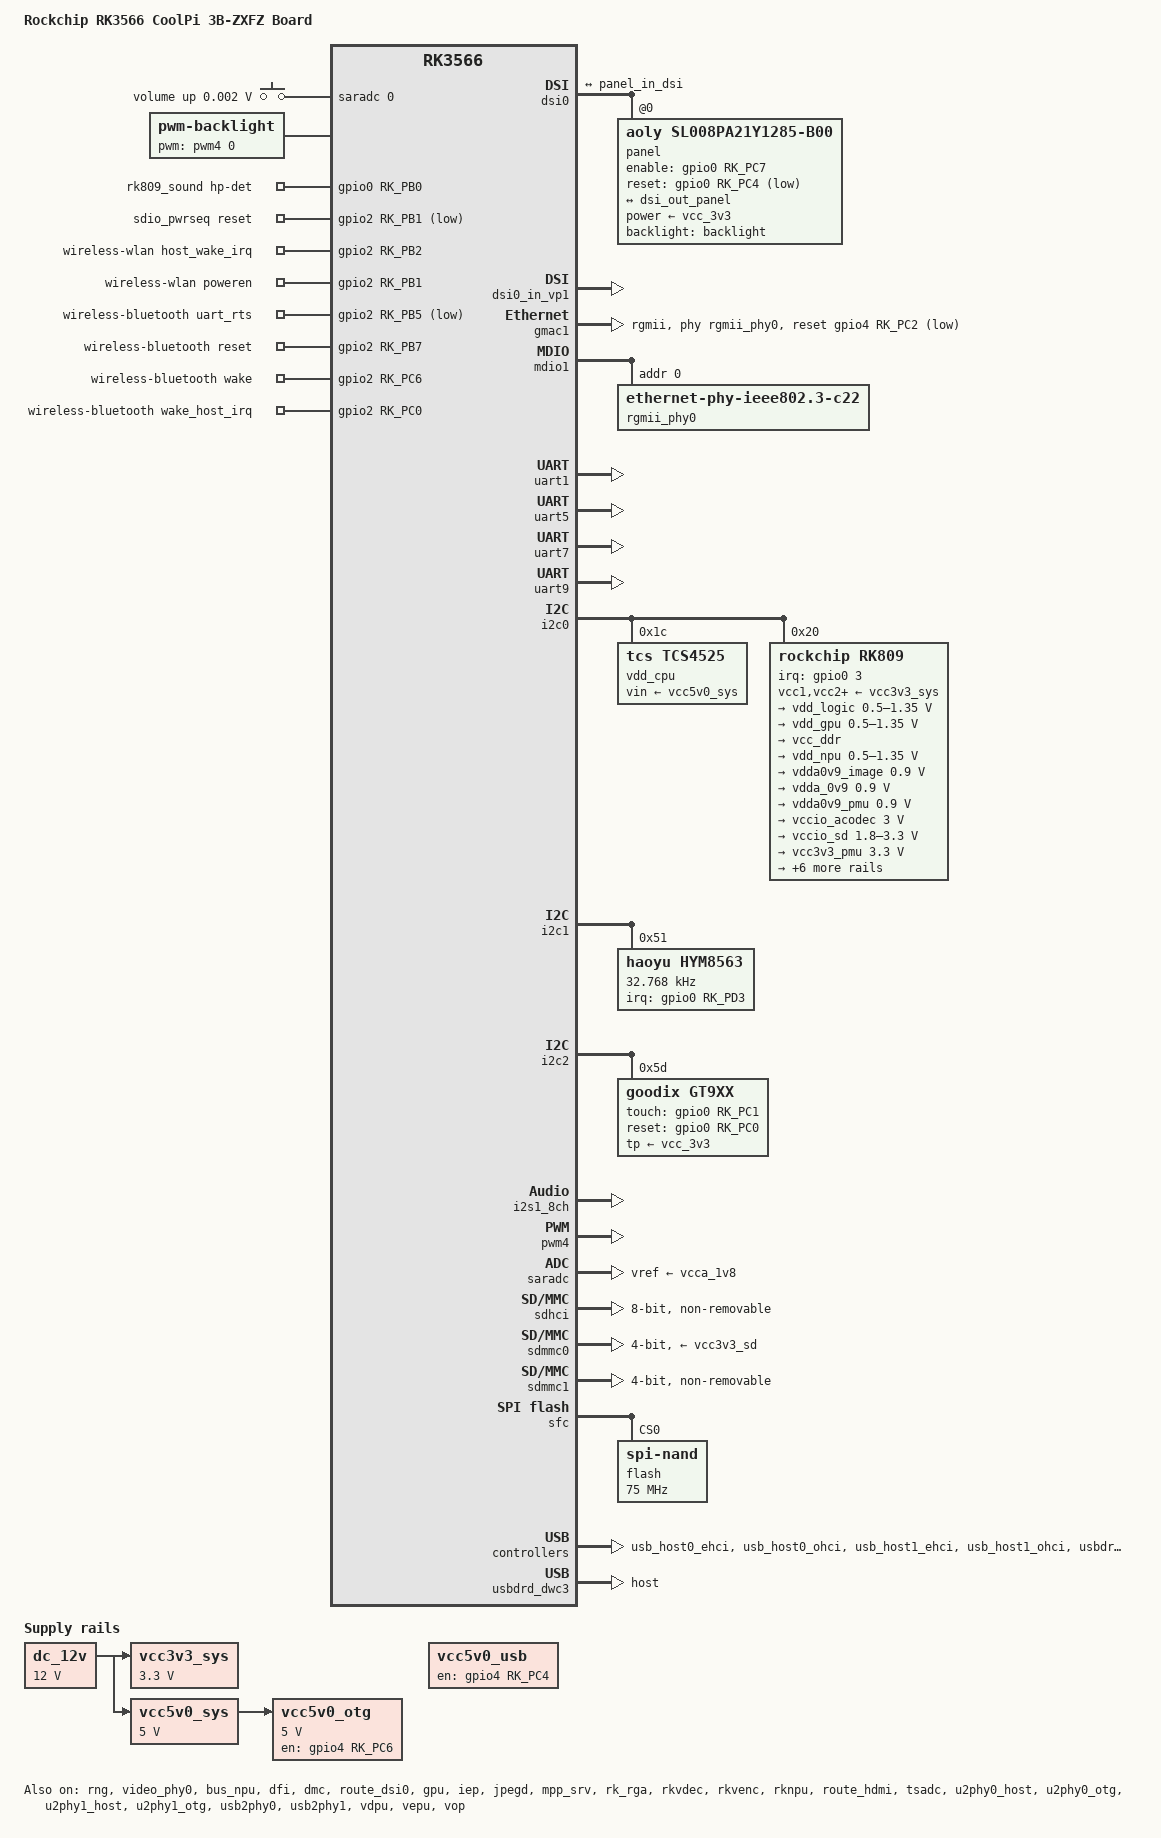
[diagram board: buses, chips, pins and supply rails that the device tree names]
// SPDX-License-Identifier: (GPL-2.0+ OR MIT)
/*
 * Copyright (c) 2020 Rockchip Electronics Co., Ltd.
 *
 */


// SPDX-License-Identifier: (GPL-2.0+ OR MIT)
/*
 * Copyright (c) 2020 Rockchip Electronics Co., Ltd.
 *
 */

/dts-v1/;
#include <dt-bindings/display/rockchip_vop.h>
#include <dt-bindings/gpio/gpio.h>
#include <dt-bindings/display/media-bus-format.h>
#include <dt-bindings/pinctrl/rockchip.h>
#include <dt-bindings/pwm/pwm.h>
#include <dt-bindings/input/rk-input.h>
#include <dt-bindings/display/drm_mipi_dsi.h>
#include <dt-bindings/sensor-dev.h>
#include "rk3566.dtsi"

/ {
	model = "Rockchip RK3566 CoolPi 3B-ZXFZ Board";
	compatible = "rockchip,rk3566";
	
	aliases {
		mmc0 = &sdhci;
		mmc1 = &sdmmc0;
		mmc2 = &sdmmc1;
		mmc3 = &sdmmc2;
	};

	fiq-debugger {
		compatible = "rockchip,fiq-debugger";
		rockchip,serial-id = <2>;
		rockchip,wake-irq = <0>;
		/* If enable uart uses irq instead of fiq */
		rockchip,irq-mode-enable = <1>;
		rockchip,baudrate = <115200>;  /* Only 115200 and 1500000 */
		interrupts = <GIC_SPI 252 IRQ_TYPE_LEVEL_LOW>;
		pinctrl-names = "default";
		pinctrl-0 = <&uart2m0_xfer>;
		status = "okay";
	};

	debug: debug@fd904000 {
		compatible = "rockchip,debug";
		reg = <0x0 0xfd904000 0x0 0x1000>,
			<0x0 0xfd905000 0x0 0x1000>,
			<0x0 0xfd906000 0x0 0x1000>,
			<0x0 0xfd907000 0x0 0x1000>;
	};

	cspmu: cspmu@fd90c000 {
		compatible = "rockchip,cspmu";
		reg = <0x0 0xfd90c000 0x0 0x1000>,
			<0x0 0xfd90d000 0x0 0x1000>,
			<0x0 0xfd90e000 0x0 0x1000>,
			<0x0 0xfd90f000 0x0 0x1000>;
	};
	
	adc_keys: adc-keys {
		compatible = "adc-keys";
		io-channels = <&saradc 0>;
		io-channel-names = "buttons";
		keyup-threshold-microvolt = <1800000>;
		poll-interval = <100>;

		vol-up-key {
			label = "volume up";
			linux,code = <KEY_VOLUMEUP>;
			press-threshold-microvolt = <1750>;
		};
	};

	backlight: backlight {
		compatible = "pwm-backlight";
		pwms = <&pwm4 0 25000 0>;
		brightness-levels = <
			  0  20  20  21  21  22  22  23
			 23  24  24  25  25  26  26  27
			 27  28  28  29  29  30  30  31
			 31  32  32  33  33  34  34  35
			 35  36  36  37  37  38  38  39
			 40  41  42  43  44  45  46  47
			 48  49  50  51  52  53  54  55
			 56  57  58  59  60  61  62  63
			 64  65  66  67  68  69  70  71
			 72  73  74  75  76  77  78  79
			 80  81  82  83  84  85  86  87
			 88  89  90  91  92  93  94  95
			 96  97  98  99 100 101 102 103
			104 105 106 107 108 109 110 111
			112 113 114 115 116 117 118 119
			120 121 122 123 124 125 126 127
			128 129 130 131 132 133 134 135
			136 137 138 139 140 141 142 143
			144 145 146 147 148 149 150 151
			152 153 154 155 156 157 158 159
			160 161 162 163 164 165 166 167
			168 169 170 171 172 173 174 175
			176 177 178 179 180 181 182 183
			184 185 186 187 188 189 190 191
			192 193 194 195 196 197 198 199
			200 201 202 203 204 205 206 207
			208 209 210 211 212 213 214 215
			216 217 218 219 220 221 222 223
			224 225 226 227 228 229 230 231
			232 233 234 235 236 237 238 239
			240 241 242 243 244 245 246 247
			248 249 250 251 252 253 254 255
		>;
		default-brightness-level = <254>;
	};

	rk809_sound: rk809-sound {
		status = "okay";
		compatible = "rockchip,multicodecs-card";
		rockchip,card-name = "rockchip-rk809";
		hp-det-gpio = <&gpio0 RK_PB0 GPIO_ACTIVE_HIGH>;
		rockchip,format = "i2s";
		rockchip,mclk-fs = <256>;
		rockchip,cpu = <&i2s1_8ch>;
		rockchip,codec = <&rk809_codec>;
		pinctrl-names = "default";
		pinctrl-0 = <&hp_det>;
	};
	
	dc_12v: dc-12v {
		compatible = "regulator-fixed";
		regulator-name = "dc_12v";
		regulator-always-on;
		regulator-boot-on;
		regulator-min-microvolt = <12000000>;
		regulator-max-microvolt = <12000000>;
	};

	vcc3v3_sys: vcc3v3-sys {
		compatible = "regulator-fixed";
		regulator-name = "vcc3v3_sys";
		regulator-always-on;
		regulator-boot-on;
		regulator-min-microvolt = <3300000>;
		regulator-max-microvolt = <3300000>;
		vin-supply = <&dc_12v>;
	};

	vcc5v0_sys: vcc5v0-sys {
		compatible = "regulator-fixed";
		regulator-name = "vcc5v0_sys";
		regulator-always-on;
		regulator-boot-on;
		regulator-min-microvolt = <5000000>;
		regulator-max-microvolt = <5000000>;
		vin-supply = <&dc_12v>;
	};
	
	vcc5v0_otg: vcc5v0-otg-regulator {
		compatible = "regulator-fixed";
		regulator-name = "vcc5v0_otg";
		regulator-min-microvolt = <5000000>;
		regulator-max-microvolt = <5000000>;
		enable-active-high;
		gpio = <&gpio4 RK_PC6 GPIO_ACTIVE_HIGH>;
		vin-supply = <&vcc5v0_sys>;
		pinctrl-names = "default";
		pinctrl-0 = <&vcc5v0_otg_en>;
	};
	
	vcc5v0_usb: vcc5v0-usb {
		compatible = "regulator-fixed";
		enable-active-high;
		gpio = <&gpio4 RK_PC4 GPIO_ACTIVE_HIGH>;
		pinctrl-names = "default";
		pinctrl-0 = <&vcc5v0_host_en>;
		regulator-name = "vcc5v0_usb";
		regulator-always-on;
	};

	sdio_pwrseq: sdio-pwrseq {
		compatible = "mmc-pwrseq-simple";
		clocks = <&rk809 1>;
		clock-names = "ext_clock";
		pinctrl-names = "default";
		pinctrl-0 = <&wifi_enable_h>;

		/*
		 * On the module itself this is one of these (depending
		 * on the actual card populated):
		 * - SDIO_RESET_L_WL_REG_ON
		 * - PDN (power down when low)
		 */
		post-power-on-delay-ms = <200>;
		reset-gpios = <&gpio2 RK_PB1 GPIO_ACTIVE_LOW>;
	};

	wireless-wlan {
		compatible = "wlan-platdata";
		rockchip,grf = <&grf>;
		wifi_chip_type = "ap6256";
		pinctrl-names = "default";
		pinctrl-0 = <&wifi_host_wake_irq>;
		WIFI,host_wake_irq = <&gpio2 RK_PB2 GPIO_ACTIVE_HIGH>;
		WIFI,poweren_gpio = <&gpio2 RK_PB1 GPIO_ACTIVE_HIGH>;
		status = "okay";
	};

	wireless-bluetooth {
		compatible = "bluetooth-platdata";
		clocks = <&rk809 1>;
		clock-names = "ext_clock";
		//wifi-bt-power-toggle;
		uart_rts_gpios = <&gpio2 RK_PB5 GPIO_ACTIVE_LOW>;
		pinctrl-names = "default", "rts_gpio";
		pinctrl-0 = <&uart1m0_rtsn>;
		pinctrl-1 = <&uart1_gpios>;
		BT,reset_gpio    = <&gpio2 RK_PB7 GPIO_ACTIVE_HIGH>;
		BT,wake_gpio     = <&gpio2 RK_PC6 GPIO_ACTIVE_HIGH>;
		BT,wake_host_irq = <&gpio2 RK_PC0 GPIO_ACTIVE_HIGH>;
		status = "okay";
	};
};

&reserved_memory {
	ramoops: ramoops@110000 {
		compatible = "ramoops";
		reg = <0x0 0x110000 0x0 0xf0000>;
		record-size = <0x20000>;
		console-size = <0x80000>;
		ftrace-size = <0x00000>;
		pmsg-size = <0x50000>;
	};
};

&rng {
	status = "okay";
};

&rockchip_suspend {
	status = "okay";
};

&vp0 {
	cursor-win-id = <ROCKCHIP_VOP2_CLUSTER0>;
};

/*
 * video_phy0 needs to be enabled
 * when dsi0 is enabled
 */
&dsi0 {
	status = "okay";
};

&dsi0_in_vp0 {
	status = "disabled";
};

&dsi0_in_vp1 {
	status = "okay";
};

&gmac1 {
	phy-mode = "rgmii";
	clock_in_out = "output";

	snps,reset-gpio = <&gpio4 RK_PC2 GPIO_ACTIVE_LOW>;
	snps,reset-active-low;
	/* Reset time is 20ms, 100ms for rtl8211f */
	snps,reset-delays-us = <0 20000 100000>;

	assigned-clocks = <&cru SCLK_GMAC1_RX_TX>, <&cru SCLK_GMAC1>;
	assigned-clock-parents = <&cru SCLK_GMAC1_RGMII_SPEED>, <&cru CLK_MAC1_2TOP>;
	assigned-clock-rates = <0>, <125000000>;

	pinctrl-names = "default";
	pinctrl-0 = <&gmac1m0_miim
		     &gmac1m0_tx_bus2
		     &gmac1m0_rx_bus2
		     &gmac1m0_rgmii_clk
		     &gmac1m0_rgmii_bus>;

	tx_delay = <0x44>;
	/*rx_delay = <0x2d>;*/

	phy-handle = <&rgmii_phy0>;
	status = "okay";

	/*fixed-link {
		speed = <100>;
	};*/
};

&mdio1 {
	rgmii_phy0: phy@0 {
		compatible = "ethernet-phy-ieee802.3-c22";
		reg = <0x0>;
	};
};

&video_phy0 {
	status = "okay";
};

&uart1 {
	status = "okay";
	pinctrl-names = "default";
	pinctrl-0 = <&uart1m0_xfer &uart1m0_ctsn>;
};

&uart5 {
	status = "okay";
	pinctrl-names = "default";
	pinctrl-0 = <&uart5m1_xfer>;
};

&uart7 {
	status = "okay";
	pinctrl-names = "default";
	pinctrl-0 = <&uart7m2_xfer>;
};

&uart9 {
	status = "okay";
	pinctrl-names = "default";
	pinctrl-0 = <&uart9m2_xfer>;
};

&bus_npu {
	bus-supply = <&vdd_logic>;
	pvtm-supply = <&vdd_cpu>;
	status = "okay";
};

&cpu0 {
	cpu-supply = <&vdd_cpu>;
};

&dfi {
	status = "okay";
};

&dmc {
	center-supply = <&vdd_logic>;
	status = "okay";
};

&dsi0 {
	status = "okay";
	//rockchip,lane-rate = <1000>;
	panel@0 {
		compatible = "aoly,sl008pa21y1285-b00", "simple-panel-dsi";
		reg = <0>;

		backlight = <&backlight>;
		power-supply=<&vcc_3v3>;
		enable-gpios = <&gpio0 RK_PC7 GPIO_ACTIVE_HIGH>;
		reset-gpios = <&gpio0 RK_PC4 GPIO_ACTIVE_LOW>;

		pinctrl-names = "default";
		pinctrl-0 = <&lcd_enable_gpio>, <&lcd_rst_gpio>;

		prepare-delay-ms = <120>;
		reset-delay-ms = <120>;
		init-delay-ms = <120>;
		stbyb-delay-ms = <120>;
		enable-delay-ms = <120>;
		disable-delay-ms = <120>;
		unprepare-delay-ms = <120>;

		width-mm = <229>;
		height-mm = <143>;

		dsi,flags = <(MIPI_DSI_MODE_VIDEO | MIPI_DSI_MODE_VIDEO_BURST |
			      MIPI_DSI_MODE_LPM | MIPI_DSI_MODE_EOT_PACKET)>;
		dsi,format = <MIPI_DSI_FMT_RGB888>;
		dsi,lanes = <4>;

		panel-init-sequence = [
			05 78 01 11
			05 14 01 29
			
			23 00 02 35 00			
		];

		panel-exit-sequence = [
			05 dc 01 28
			05 78 01 10
		];

		disp_timings0: display-timings {
			native-mode = <&dsi0_timing0>;
			dsi0_timing0: timing0 {
				clock-frequency = <143000000>;
				hactive = <1200>;
				vactive = <1920>;
				hfront-porch = <80>;
				hsync-len = <1>;
				hback-porch = <60>;
				vfront-porch = <35>;
				vsync-len = <1>;
				vback-porch = <25>;
				hsync-active = <0>;
				vsync-active = <0>;
				de-active = <0>;
				pixelclk-active = <0>;
			};
		};

		ports {
			#address-cells = <1>;
			#size-cells = <0>;

			port@0 {
				reg = <0>;
				panel_in_dsi: endpoint {
					remote-endpoint = <&dsi_out_panel>;
				};
			};
		};
	};

	ports {
		#address-cells = <1>;
		#size-cells = <0>;

		port@1 {
			reg = <1>;
			dsi_out_panel: endpoint {
				remote-endpoint = <&panel_in_dsi>;
			};
		};
	};

};

&route_dsi0 {
	status = "okay";
	connect = <&vp1_out_dsi0>;
};

&gpu {
	mali-supply = <&vdd_gpu>;
	status = "okay";
};

&i2c0 {
	status = "okay";

	vdd_cpu: tcs4525@1c {
		compatible = "tcs,tcs4525";
		reg = <0x1c>;
		vin-supply = <&vcc5v0_sys>;
		regulator-compatible = "fan53555-reg";
		regulator-name = "vdd_cpu";
		regulator-min-microvolt = <712500>;
		regulator-max-microvolt = <1390000>;
		regulator-init-microvolt = <900000>;
		regulator-ramp-delay = <2300>;
		fcs,suspend-voltage-selector = <1>;
		regulator-boot-on;
		regulator-always-on;
		regulator-state-mem {
			regulator-off-in-suspend;
		};
	};

	rk809: pmic@20 {
		compatible = "rockchip,rk809";
		reg = <0x20>;
		interrupt-parent = <&gpio0>;
		interrupts = <3 IRQ_TYPE_LEVEL_LOW>;

		pinctrl-names = "default", "pmic-sleep",
				"pmic-power-off", "pmic-reset";
		pinctrl-0 = <&pmic_int>;
		pinctrl-1 = <&soc_slppin_slp>, <&rk817_slppin_slp>;
		pinctrl-2 = <&soc_slppin_gpio>, <&rk817_slppin_pwrdn>;
		pinctrl-3 = <&soc_slppin_gpio>, <&rk817_slppin_rst>;

		rockchip,system-power-controller;
		wakeup-source;
		#clock-cells = <1>;
		clock-output-names = "rk808-clkout1", "rk808-clkout2";
		//fb-inner-reg-idxs = <2>;
		/* 1: rst regs (default in codes), 0: rst the pmic */
		pmic-reset-func = <0>;
		/* not save the PMIC_POWER_EN register in uboot */
		not-save-power-en = <1>;

		vcc1-supply = <&vcc3v3_sys>;
		vcc2-supply = <&vcc3v3_sys>;
		vcc3-supply = <&vcc3v3_sys>;
		vcc4-supply = <&vcc3v3_sys>;
		vcc5-supply = <&vcc3v3_sys>;
		vcc6-supply = <&vcc3v3_sys>;
		vcc7-supply = <&vcc3v3_sys>;
		vcc8-supply = <&vcc3v3_sys>;
		vcc9-supply = <&vcc3v3_sys>;

		pwrkey {
			status = "okay";
		};

		pinctrl_rk8xx: pinctrl_rk8xx {
			gpio-controller;
			#gpio-cells = <2>;

			rk817_slppin_null: rk817_slppin_null {
				pins = "gpio_slp";
				function = "pin_fun0";
			};

			rk817_slppin_slp: rk817_slppin_slp {
				pins = "gpio_slp";
				function = "pin_fun1";
			};

			rk817_slppin_pwrdn: rk817_slppin_pwrdn {
				pins = "gpio_slp";
				function = "pin_fun2";
			};

			rk817_slppin_rst: rk817_slppin_rst {
				pins = "gpio_slp";
				function = "pin_fun3";
			};
		};

		regulators {
			vdd_logic: DCDC_REG1 {
				regulator-always-on;
				regulator-boot-on;
				regulator-min-microvolt = <500000>;
				regulator-max-microvolt = <1350000>;
				regulator-init-microvolt = <900000>;
				regulator-ramp-delay = <6001>;
				regulator-initial-mode = <0x2>;
				regulator-name = "vdd_logic";
				regulator-state-mem {
					regulator-off-in-suspend;
				};
			};

			vdd_gpu: DCDC_REG2 {
				regulator-always-on;
				regulator-boot-on;
				regulator-min-microvolt = <500000>;
				regulator-max-microvolt = <1350000>;
				regulator-init-microvolt = <900000>;
				regulator-ramp-delay = <6001>;
				regulator-initial-mode = <0x2>;
				regulator-name = "vdd_gpu";
				regulator-state-mem {
					regulator-off-in-suspend;
				};
			};

			vcc_ddr: DCDC_REG3 {
				regulator-always-on;
				regulator-boot-on;
				regulator-initial-mode = <0x2>;
				regulator-name = "vcc_ddr";
				regulator-state-mem {
					regulator-on-in-suspend;
				};
			};

			vdd_npu: DCDC_REG4 {
				regulator-always-on;
				regulator-boot-on;
				regulator-min-microvolt = <500000>;
				regulator-max-microvolt = <1350000>;
				regulator-init-microvolt = <900000>;
				regulator-ramp-delay = <6001>;
				regulator-initial-mode = <0x2>;
				regulator-name = "vdd_npu";
				regulator-state-mem {
					regulator-off-in-suspend;
				};
			};

			vdda0v9_image: LDO_REG1 {
				regulator-boot-on;
				regulator-always-on;
				regulator-min-microvolt = <900000>;
				regulator-max-microvolt = <900000>;
				regulator-name = "vdda0v9_image";
				regulator-state-mem {
					regulator-off-in-suspend;
				};
			};

			vdda_0v9: LDO_REG2 {
				regulator-always-on;
				regulator-boot-on;
				regulator-min-microvolt = <900000>;
				regulator-max-microvolt = <900000>;
				regulator-name = "vdda_0v9";
				regulator-state-mem {
					regulator-off-in-suspend;
				};
			};

			vdda0v9_pmu: LDO_REG3 {
				regulator-always-on;
				regulator-boot-on;
				regulator-min-microvolt = <900000>;
				regulator-max-microvolt = <900000>;
				regulator-name = "vdda0v9_pmu";
				regulator-state-mem {
					regulator-on-in-suspend;
					regulator-suspend-microvolt = <900000>;
				};
			};

			vccio_acodec: LDO_REG4 {
				regulator-always-on;
				regulator-boot-on;
				regulator-min-microvolt = <3000000>;
				regulator-max-microvolt = <3000000>;
				regulator-name = "vccio_acodec";
				regulator-state-mem {
					regulator-off-in-suspend;
				};
			};

			vccio_sd: LDO_REG5 {
				regulator-always-on;
				regulator-boot-on;
				regulator-min-microvolt = <1800000>;
				regulator-max-microvolt = <3300000>;
				regulator-name = "vccio_sd";
				regulator-state-mem {
					regulator-off-in-suspend;
				};
			};

			vcc3v3_pmu: LDO_REG6 {
				regulator-always-on;
				regulator-boot-on;
				regulator-min-microvolt = <3300000>;
				regulator-max-microvolt = <3300000>;
				regulator-name = "vcc3v3_pmu";
				regulator-state-mem {
					regulator-on-in-suspend;
					regulator-suspend-microvolt = <3300000>;
				};
			};

			vcca_1v8: LDO_REG7 {
				regulator-always-on;
				regulator-boot-on;
				regulator-min-microvolt = <1800000>;
				regulator-max-microvolt = <1800000>;
				regulator-name = "vcca_1v8";
				regulator-state-mem {
					regulator-off-in-suspend;
				};
			};

			vcca1v8_pmu: LDO_REG8 {
				regulator-always-on;
				regulator-boot-on;
				regulator-min-microvolt = <1800000>;
				regulator-max-microvolt = <1800000>;
				regulator-name = "vcca1v8_pmu";
				regulator-state-mem {
					regulator-on-in-suspend;
					regulator-suspend-microvolt = <1800000>;
				};
			};

			vcca1v8_image: LDO_REG9 {
				regulator-always-on;
				regulator-boot-on;
				regulator-min-microvolt = <1800000>;
				regulator-max-microvolt = <1800000>;
				regulator-name = "vcca1v8_image";
				regulator-state-mem {
					regulator-off-in-suspend;
				};
			};

			vcc_1v8: DCDC_REG5 {
				regulator-always-on;
				regulator-boot-on;
				regulator-min-microvolt = <1800000>;
				regulator-max-microvolt = <1800000>;
				regulator-name = "vcc_1v8";
				regulator-state-mem {
					regulator-off-in-suspend;
				};
			};

			vcc_3v3: SWITCH_REG1 {
				regulator-always-on;
				regulator-boot-on;
				regulator-name = "vcc_3v3";
				regulator-state-mem {
					regulator-off-in-suspend;
				};
			};

			vcc3v3_sd: SWITCH_REG2 {
				regulator-always-on;
				regulator-boot-on;
				regulator-name = "vcc3v3_sd";
				regulator-state-mem {
					regulator-off-in-suspend;
				};
			};
		};

		rk809_codec: codec {
			#sound-dai-cells = <1>;
			compatible = "rockchip,rk809-codec", "rockchip,rk817-codec";
			clocks = <&cru I2S1_MCLKOUT>;
			clock-names = "mclk";
			assigned-clocks = <&cru I2S1_MCLKOUT>, <&cru I2S1_MCLK_TX_IOE>;
			assigned-clock-rates = <12288000>;
			assigned-clock-parents = <&cru I2S1_MCLKOUT_TX>, <&cru I2S1_MCLKOUT_TX>;
			pinctrl-names = "default";
			pinctrl-0 = <&i2s1m0_mclk>;
			use-ext-amplifier;
			spk-ctl-gpios = <&gpio0 RK_PA5 GPIO_ACTIVE_HIGH>;
			hp-volume = <20>;
			spk-volume = <3>;
			mic-in-differential;
			status = "okay";
		};
	};
};

&i2c1 {
	status = "okay";
	
	hym8563: hym8563@51 {
		compatible = "haoyu,hym8563";
		reg = <0x51>;
		#clock-cells = <0>;
		clock-frequency = <32768>;
		clock-output-names = "hym8563";
		pinctrl-names = "default";
		pinctrl-0 = <&hym8563_int>;
		interrupt-parent = <&gpio0>;
		interrupts = <RK_PD3 IRQ_TYPE_LEVEL_LOW>;
		//wakeup-source;
		status = "okay";
	};
};

&i2c2 {
	status = "okay";
	pinctrl-0 = <&i2c2m0_xfer>;
	
	gt9xx: gt9xx@5d {
		compatible = "goodix,gt9xx";
		reg = <0x5d>;
		pinctrl-names = "default";
		pinctrl-0 = <&gt9xx_gpio>;
		touch-gpio = <&gpio0 RK_PC1 IRQ_TYPE_LEVEL_LOW>;
		reset-gpio = <&gpio0 RK_PC0 GPIO_ACTIVE_HIGH>;
		max-x = <1200>;
		max-y = <1920>;
		tp-size = <9110>;
		tp-supply = <&vcc_3v3>;
	};
	
};

&i2s1_8ch {
	status = "okay";
	rockchip,clk-trcm = <1>;
	pinctrl-names = "default";
	pinctrl-0 = <&i2s1m0_sclktx
		     &i2s1m0_lrcktx
		     &i2s1m0_sdi0
		     &i2s1m0_sdo0>;
};

&iep {
	status = "okay";
};

&iep_mmu {
	status = "okay";
};

&jpegd {
	status = "okay";
};

&jpegd_mmu {
	status = "okay";
};

&mpp_srv {
	status = "okay";
};

&pmu_io_domains {
	status = "okay";
	pmuio1-supply = <&vcc3v3_pmu>;
	pmuio2-supply = <&vcc3v3_pmu>;
	vccio1-supply = <&vccio_acodec>;
	vccio3-supply = <&vccio_sd>;
	vccio4-supply = <&vcc_1v8>;
	vccio5-supply = <&vcc_1v8>;
	vccio6-supply = <&vcc_1v8>;
	vccio7-supply = <&vcc_3v3>;
};

&pwm4 {
	status = "okay";
};

&rk_rga {
	status = "okay";
};

&rkvdec {
	status = "okay";
};

&rkvdec_mmu {
	status = "okay";
};

&rkvenc {
	venc-supply = <&vdd_logic>;
	status = "okay";
};

&rkvenc_mmu {
	status = "okay";
};

&rknpu {
	rknpu-supply = <&vdd_npu>;
	status = "okay";
};

&rknpu_mmu {
	status = "okay";
};

&route_hdmi {
	status = "okay";
	connect = <&vp0_out_hdmi>;
};

&saradc {
	status = "okay";
	vref-supply = <&vcca_1v8>;
};

&sdhci {
	bus-width = <8>;
	no-sdio;
	no-sd;
	non-removable;
	max-frequency = <200000000>;
	full-pwr-cycle-in-suspend;
	status = "okay";
};

&sdmmc0 {
	max-frequency = <150000000>;
	no-sdio;
	no-mmc;
	bus-width = <4>;
	cap-mmc-highspeed;
	cap-sd-highspeed;
	disable-wp;
	sd-uhs-sdr104;
	vmmc-supply = <&vcc3v3_sd>;
	vqmmc-supply = <&vccio_sd>;
	pinctrl-names = "default";
	pinctrl-0 = <&sdmmc0_bus4 &sdmmc0_clk &sdmmc0_cmd &sdmmc0_det>;
	status = "okay";
};

&sdmmc1 {
	max-frequency = <150000000>;
	no-sd;
	no-mmc;
	bus-width = <4>;
	disable-wp;
	cap-sd-highspeed;
	cap-sdio-irq;
	keep-power-in-suspend;
	mmc-pwrseq = <&sdio_pwrseq>;
	non-removable;
	pinctrl-names = "default";
	pinctrl-0 = <&sdmmc1_bus4 &sdmmc1_cmd &sdmmc1_clk>;
	sd-uhs-sdr104;
	status = "okay";
};

&sfc {
	status = "okay";

	flash@0 {
		compatible = "spi-nand";
		reg = <0>;
		spi-max-frequency = <75000000>;
		spi-rx-bus-width = <4>;
		spi-tx-bus-width = <1>;
	};
};

&tsadc {
	status = "okay";
};

&u2phy0_host {
	phy-supply = <&vcc5v0_usb>;
	status = "okay";
};

&u2phy0_otg {
	vbus-supply = <&vcc5v0_otg>;
	status = "okay";
};

&u2phy1_host {
	phy-supply = <&vcc5v0_usb>;
	status = "okay";
};

&u2phy1_otg {
	phy-supply = <&vcc5v0_usb>;
	status = "okay";
};

&usb2phy0 {
	status = "okay";
};

&usb2phy1 {
	status = "okay";
};

&usb_host0_ehci {
	status = "okay";
};

&usb_host0_ohci {
	status = "okay";
};

&usb_host1_ehci {
	status = "okay";
};

&usb_host1_ohci {
	status = "okay";
};

&usbdrd_dwc3 {
	dr_mode = "host";
	extcon = <&usb2phy0>;
	status = "okay";
};

&usbdrd30 {
	status = "okay";
};

&vdpu {
	status = "okay";
};

&vdpu_mmu {
	status = "okay";
};

&vepu {
	status = "okay";
};

&vepu_mmu {
	status = "okay";
};

&vop {
	status = "okay";
	disable-win-move;
	assigned-clocks = <&cru DCLK_VOP0>, <&cru DCLK_VOP1>, <&cru DCLK_VOP2>;
	assigned-clock-parents = <&pmucru PLL_HPLL>, <&cru PLL_VPLL>, <&cru PLL_GPLL>;
};

&vop_mmu {
	status = "okay";
};

&pinctrl {

	headphone {
		hp_det: hp-det {
			rockchip,pins = <0 RK_PB0 RK_FUNC_GPIO &pcfg_pull_up>;
		};
	};

	pmic {
		pmic_int: pmic_int {
			rockchip,pins =
				<0 RK_PA3 RK_FUNC_GPIO &pcfg_pull_up>;
		};

		soc_slppin_gpio: soc_slppin_gpio {
			rockchip,pins =
				<0 RK_PA2 RK_FUNC_GPIO &pcfg_output_low>;
		};

		soc_slppin_slp: soc_slppin_slp {
			rockchip,pins =
				<0 RK_PA2 1 &pcfg_pull_none>;
		};

		soc_slppin_rst: soc_slppin_rst {
			rockchip,pins =
				<0 RK_PA2 2 &pcfg_pull_none>;
		};
	};
	
	rtc {
		hym8563_int: hym8563-int {
			rockchip,pins = <0 RK_PD3 RK_FUNC_GPIO &pcfg_pull_none>;
		};
	};
	
	usb {
		vcc5v0_host_en: vcc5v0-host-en {
			rockchip,pins = <4 RK_PC4 RK_FUNC_GPIO &pcfg_pull_none>;
		};
		vcc5v0_otg_en: vcc5v0-otg-en {
			rockchip,pins = <4 RK_PC6 RK_FUNC_GPIO &pcfg_pull_none>;
		};
	};
	
	lcd {
		lcd_rst_gpio: lcd-rst-gpio {
			rockchip,pins = <0 RK_PC4 RK_FUNC_GPIO &pcfg_pull_none>;
		};

		lcd_enable_gpio: lcd-enable-gpio {
			rockchip,pins = <0 RK_PC7 RK_FUNC_GPIO &pcfg_pull_none>;
		};
	};

	gt9xx {
		gt9xx_gpio: gt9xx-gpio {
			rockchip,pins = <0 RK_PC1 RK_FUNC_GPIO &pcfg_pull_up>,
					<0 RK_PC0 RK_FUNC_GPIO &pcfg_pull_none>;
		};
	};

	sdio-pwrseq {
		wifi_enable_h: wifi-enable-h {
			rockchip,pins = <2 RK_PB1 RK_FUNC_GPIO &pcfg_pull_none>;
		};
	};

	wireless-wlan {
		wifi_host_wake_irq: wifi-host-wake-irq {
			rockchip,pins = <2 RK_PB2 RK_FUNC_GPIO &pcfg_pull_down>;
		};
	};

	wireless-bluetooth {
		uart1_gpios: uart1-gpios {
			rockchip,pins = <2 RK_PB5 RK_FUNC_GPIO &pcfg_pull_none>;
		};
	};
};

